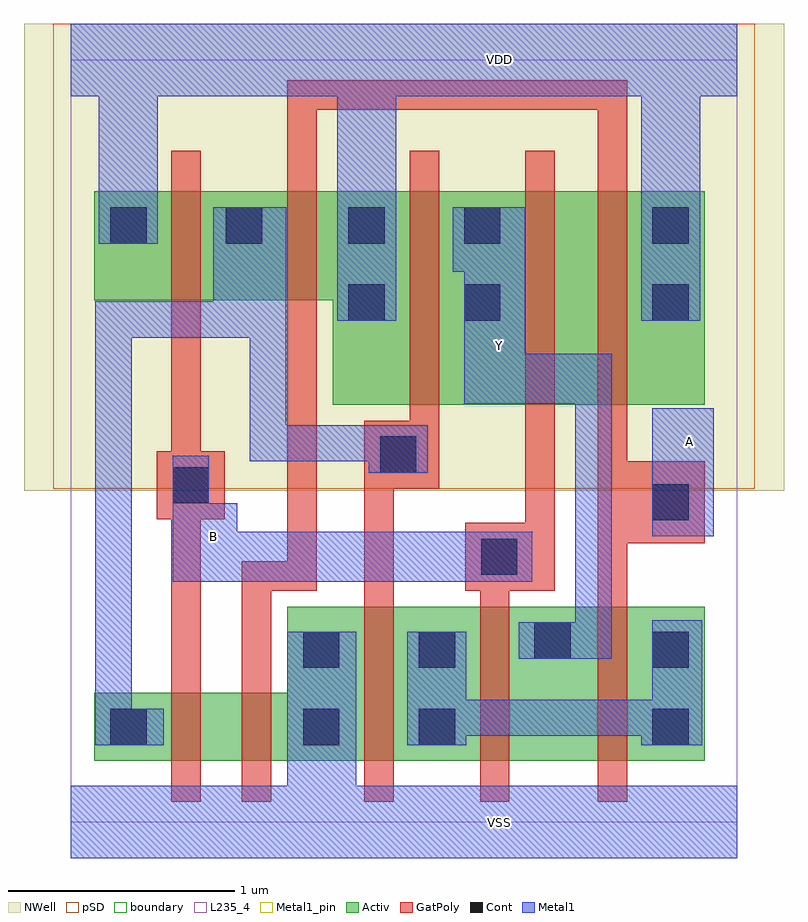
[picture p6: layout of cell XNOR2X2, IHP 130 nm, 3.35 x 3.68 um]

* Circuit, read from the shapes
.subckt XNOR2X2 A B VDD VSS Y
XM1 n1 B n2 VSUBS sg13_lv_nmos w=0.3u l=0.13u
XM2 VSS A n1 VSUBS sg13_lv_nmos w=0.3u l=0.13u
XM3 n3 n2 VSS VSUBS sg13_lv_nmos w=0.68u l=0.13u
XM4 Y B n3 VSUBS sg13_lv_nmos w=0.68u l=0.13u
XM5 n3 A Y VSUBS sg13_lv_nmos w=0.68u l=0.13u
XM6 n2 B VDD n4 sg13_lv_pmos w=0.48u l=0.13u
XM7 VDD A n2 n4 sg13_lv_pmos w=0.48u l=0.13u
XM8 Y n2 VDD n4 sg13_lv_pmos w=0.94u l=0.13u
XM9 n5 B Y n4 sg13_lv_pmos w=0.94u l=0.13u
XM10 VDD A n5 n4 sg13_lv_pmos w=0.94u l=0.13u
.ends

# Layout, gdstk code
import gdstk
lib = gdstk.Library(unit=1e-6, precision=1e-09)
def R(c, l, rs):  # rectangles x0, y0, x1, y1
    for r in rs: c.add(gdstk.rectangle(r[:2], r[2:], *l))
def P(c, l, *ps):  # polygons
    for p in ps: c.add(gdstk.Polygon(p, *l))
Activ = (1, 0)
GatPoly = (5, 0)
Cont = (6, 0)
Metal1 = (8, 0)
Metal1_pin = (8, 2)
pSD = (14, 0)
NWell = (31, 0)
boundary = (189, 4)
L235_4 = (235, 4)

xnor2x2 = lib.new_cell('XNOR2X2')
P(xnor2x2, Activ, [(0.105,0.27),(0.105,0.57),(0.955,0.57),(0.955,0.95),(2.795,0.95),(2.795,0.27)],
  [(1.155,1.84),(1.155,2.3),(0.105,2.3),(0.105,2.78),(2.795,2.78),(2.795,1.84)])
P(xnor2x2, GatPoly, [(0.755,0.09),(0.755,1.15),(0.955,1.15),(0.955,3.27),(2.455,3.27),(2.455,1.59),(2.795,1.59),(2.795,1.23),(2.455,1.23),(2.455,0.09),(2.325,0.09),(2.325,3.14),(1.085,3.14),(1.085,1.02),(0.885,1.02),(0.885,0.09)],
  [(1.805,0.09),(1.805,1.02),(1.74,1.02),(1.74,1.32),(2.005,1.32),(2.005,2.96),(2.135,2.96),(2.135,1.02),(1.935,1.02),(1.935,0.09)],
  [(1.295,0.09),(1.295,1.77),(1.495,1.77),(1.495,2.96),(1.625,2.96),(1.625,1.47),(1.425,1.47),(1.425,0.09)],
  [(0.445,0.09),(0.445,1.335),(0.38,1.335),(0.38,1.635),(0.445,1.635),(0.445,2.96),(0.575,2.96),(0.575,1.635),(0.68,1.635),(0.68,1.335),(0.575,1.335),(0.575,0.09)])
R(xnor2x2, Cont, [(0.175,0.34,0.335,0.5), (1.025,0.34,1.185,0.5), (1.535,0.34,1.695,0.5), (2.565,0.34,2.725,0.5), (1.025,0.68,1.185,0.84), (1.535,0.68,1.695,0.84), (2.565,0.68,2.725,0.84), (2.045,0.72,2.205,0.88), (1.81,1.09,1.97,1.25), (2.565,1.33,2.725,1.49), (0.45,1.405,0.61,1.565), (1.365,1.54,1.525,1.7), (1.225,2.21,1.385,2.37), (1.735,2.21,1.895,2.37), (2.565,2.21,2.725,2.37), (0.175,2.55,0.335,2.71), (0.685,2.55,0.845,2.71), (1.225,2.55,1.385,2.71), (1.735,2.55,1.895,2.71), (2.565,2.55,2.725,2.71)])
R(xnor2x2, Metal1, [(2.565,1.26,2.835,1.825)])
P(xnor2x2, Metal1, [(0,-0.16),(0,0.16),(0.955,0.16),(0.955,0.84),(1.26,0.84),(1.26,0.16),(2.94,0.16),(2.94,-0.16)],
  [(1.175,2.21),(1.175,3.2),(0.385,3.2),(0.385,2.55),(0.125,2.55),(0.125,3.2),(0,3.2),(0,3.52),(2.94,3.52),(2.94,3.2),(2.775,3.2),(2.775,2.21),(2.515,2.21),(2.515,3.2),(1.435,3.2),(1.435,2.21)],
  [(1.485,0.34),(1.485,0.84),(1.745,0.84),(1.745,0.54),(2.565,0.54),(2.565,0.89),(2.785,0.89),(2.785,0.34),(2.515,0.34),(2.515,0.38),(1.745,0.38),(1.745,0.34)],
  [(1.975,0.72),(1.975,0.88),(2.225,0.88),(2.225,1.845),(1.735,1.845),(1.735,2.425),(1.685,2.425),(1.685,2.71),(2.005,2.71),(2.005,2.065),(2.385,2.065),(2.385,0.72)],
  [(0.45,1.06),(0.45,1.615),(0.61,1.615),(0.61,1.405),(0.735,1.405),(0.735,1.28),(2.035,1.28),(2.035,1.06)],
  [(0.11,0.34),(0.11,2.295),(0.63,2.295),(0.63,2.71),(0.95,2.71),(0.95,1.75),(1.575,1.75),(1.575,1.54),(1.315,1.54),(1.315,1.59),(0.79,1.59),(0.79,2.135),(0.27,2.135),(0.27,0.5),(0.41,0.5),(0.41,0.34)])
R(xnor2x2, Metal1_pin, [(2.565,1.26,2.835,1.825)])
P(xnor2x2, Metal1_pin, [(0,-0.16),(0,0.16),(0.955,0.16),(0.955,0.84),(1.26,0.84),(1.26,0.16),(2.94,0.16),(2.94,-0.16)],
  [(1.175,2.21),(1.175,3.2),(0.385,3.2),(0.385,2.55),(0.125,2.55),(0.125,3.2),(0,3.2),(0,3.52),(2.94,3.52),(2.94,3.2),(2.775,3.2),(2.775,2.21),(2.515,2.21),(2.515,3.2),(1.435,3.2),(1.435,2.21)],
  [(1.975,0.72),(1.975,0.88),(2.225,0.88),(2.225,1.845),(1.735,1.845),(1.735,2.425),(1.685,2.425),(1.685,2.71),(2.005,2.71),(2.005,2.065),(2.385,2.065),(2.385,0.72)],
  [(0.45,1.06),(0.45,1.615),(0.61,1.615),(0.61,1.405),(0.735,1.405),(0.735,1.28),(2.035,1.28),(2.035,1.06)])
R(xnor2x2, pSD, [(-0.075,1.47,3.015,3.52)])
R(xnor2x2, NWell, [(-0.205,1.46,3.145,3.52)])
R(xnor2x2, boundary, [(0,0,2.94,3.36)])
R(xnor2x2, L235_4, [(0,0,2.94,3.36)])
xnor2x2.add(gdstk.Label('VSS', (1.89,0), layer=8, texttype=25))
xnor2x2.add(gdstk.Label('Y', (1.89,2.1), layer=8, texttype=25))
xnor2x2.add(gdstk.Label('B', (0.63,1.26), layer=8, texttype=25))
xnor2x2.add(gdstk.Label('A', (2.73,1.68), layer=8, texttype=25))
xnor2x2.add(gdstk.Label('VDD', (1.89,3.36), layer=8, texttype=25))

lib.write_gds('XNOR2X2.gds')
